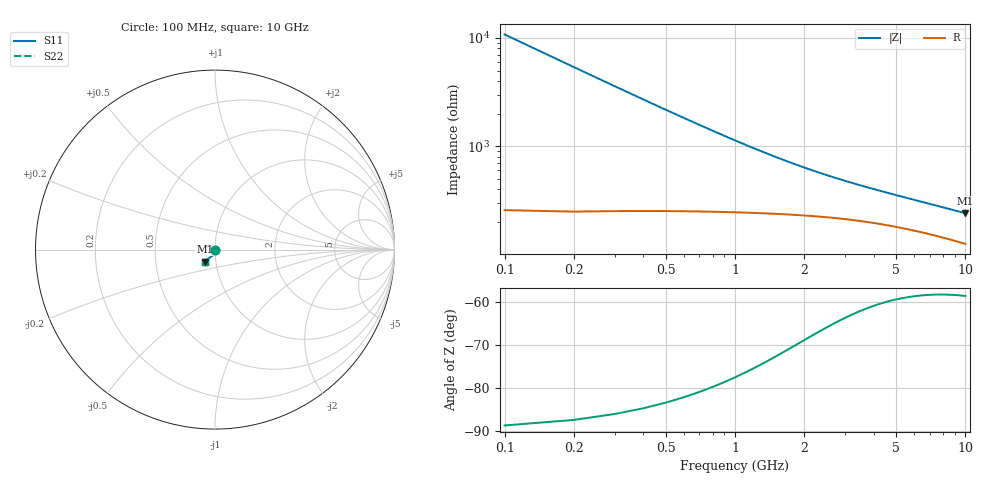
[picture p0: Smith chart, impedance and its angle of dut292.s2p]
! Touchstone file exported from HFSS 2024.1.0
!  File:  C:/UserFiles/LocalFiles/RDL_TSV_Batchsim/temp_TSV1_292_1778770915.aedt
!  Generated:  11:07:30 PM May 14, 2026
!  Design:  TSV1
!  Project:  temp_TSV1_292_1778770915
!  Setup:  Setup1
!  Solution:  Sweep
! Variables:
!  dtsv = 18.89um
!  hbump = 3um
!  htsv = 64.32um
!  lrdl = 252.1521522um
!  p = 40
!  p1 = 40.59um
!  t = 500um
!  trdl = 3um
!  wrdl = 24.89489489um
# GHz S MA R 50.000000
! Terminal data exported
! Port[1] = TSV22_T1
! Port[2] = TSV22_T2
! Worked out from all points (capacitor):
!   100 points, 100 MHz to 10 GHz, reference 50 ohm
!   read as one part in shunt: C = 148 fF near 100 MHz
!   lowest |Z| = 240 ohm at 10 GHz (marker M1)
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0.1  0.002142 -89.5  0.9999 -0.1  0.9999 -0.1  0.002142 -89.5
! Gamma 0 0 0 0
! Port Impedance 50 0 50 0
0.2  0.004312 -91.8  0.9997 -0.3  0.9997 -0.3  0.004312 -91.8
0.3  0.006463 -93.6  0.9994 -0.4  0.9994 -0.4  0.006463 -93.6
0.4  0.00859 -95.3  0.9989 -0.6  0.9989 -0.6  0.00859 -95.3
0.5  0.01069 -96.8  0.9984 -0.7  0.9984 -0.7  0.01069 -96.8
0.6  0.01275 -98.3  0.9978 -0.8  0.9978 -0.8  0.01275 -98.3
0.7  0.01477 -99.7  0.9971 -1.0  0.9971 -1.0  0.01477 -99.7
0.8  0.01675 -101.1  0.9964 -1.1  0.9964 -1.1  0.01675 -101.1
0.9  0.01867 -102.5  0.9956 -1.2  0.9956 -1.2  0.01867 -102.5
1.1  0.02237 -105.0  0.9938 -1.4  0.9938 -1.4  0.02237 -105.0
1.4  0.0275 -108.5  0.9909 -1.7  0.9909 -1.7  0.0275 -108.5
1.6  0.03065 -110.5  0.989 -1.9  0.989 -1.9  0.03065 -110.5
1.8  0.03357 -112.4  0.987 -2.1  0.987 -2.1  0.03357 -112.4
2.1  0.03759 -114.9  0.984 -2.3  0.984 -2.3  0.03759 -114.9
2.5  0.04233 -117.7  0.9803 -2.6  0.9803 -2.6  0.04233 -117.7
2.9  0.0465 -119.9  0.9768 -2.8  0.9768 -2.8  0.0465 -119.9
3.4  0.05108 -122.1  0.973 -3.0  0.973 -3.0  0.05108 -122.1
4.2  0.0574 -124.7  0.9677 -3.4  0.9677 -3.4  0.0574 -124.7
5.1  0.06353 -126.5  0.9627 -3.8  0.9627 -3.8  0.06353 -126.5
6.7  0.07286 -128.4  0.9557 -4.4  0.9557 -4.4  0.07286 -128.4
8.4  0.08144 -129.4  0.9497 -5.0  0.9497 -5.0  0.08144 -129.4
10  0.08873 -129.9  0.9451 -5.5  0.9451 -5.5  0.08873 -129.9
